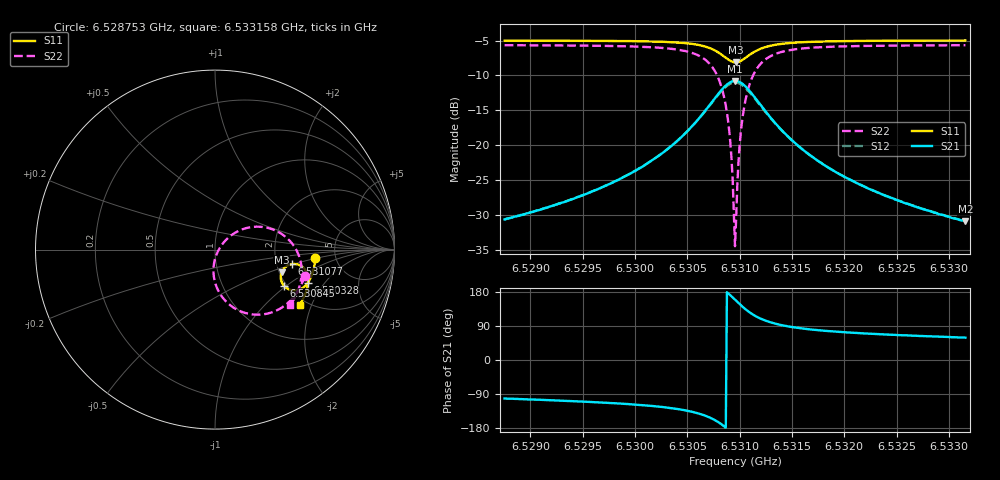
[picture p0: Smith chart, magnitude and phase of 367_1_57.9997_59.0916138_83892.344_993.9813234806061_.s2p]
#  HZ  S  RI  R  50.00
! Rohde & Schwarz Vector Network Analyzer
! Rohde-Schwarz,ZNB20-2Port,1311601062101988,3.16
! Created: UTC 3/21/2024, 1:06:45 AM
! freq[Hz]  re:S11  im:S11  re:S21  im:S21  re:S12  im:S12  re:S22  im:S22
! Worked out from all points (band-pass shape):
!   401 points, 6.528753 GHz to 6.533158 GHz, reference 50 ohm
!   highest |S21| = -10.78 dB at 6.530956 GHz (marker M1); lowest = -30.9 dB at 6.533158 GHz (marker M2)
!   |S21| within 3 dB of the highest: 6.530737 GHz to 6.531177 GHz (440.2 kHz wide, 0.00674 % of centre)
!   lowest |S11| = -8.1 dB at 6.530967 GHz (marker M3), VSWR 2.29, Z = 103 - j30.6 ohm
!   |S11| at or under -10 dB: nowhere
!   |S22| runs from -34.5 to -5.7 dB; largest |S21 - S12| = 0.011
!   S11 on the Smith chart (normalised r, x): 6.528753 GHz: 3.50, -0.45; 6.530328 GHz: 2.59, -1.39; 6.530845 GHz: 1.94, -0.97; 6.531077 GHz: 2.42, -0.48; 6.533158 GHz: 1.82, -1.65
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6.5287534e9  0.5598 -0.0442  -0.00589 -0.0287  -0.00639 -0.0286  0.4997 -0.1472
6.5294911e9  0.5506 -0.1047  -0.0147 -0.0408  -0.0155 -0.0407  0.4711 -0.2144
6.5302288e9  0.5238 -0.1759  -0.0461 -0.0704  -0.0479 -0.0693  0.3947 -0.3072
6.5303279e9  0.5161 -0.1874  -0.0568 -0.0775  -0.0589 -0.0758  0.3718 -0.3235
6.5306803e9  0.4533 -0.2268  -0.1528 -0.0957  -0.155 -0.0897  0.1891 -0.3579
6.5307794e9  0.4145 -0.2226  -0.213 -0.0726  -0.2128 -0.0639  0.0859 -0.3109
6.5308454e9  0.3855 -0.2028  -0.2563 -0.0283  -0.2522 -0.0193  0.0187 -0.2301
6.5308784e9  0.3738 -0.1857  -0.2722 0.00527  -0.2658 0.0138  -0.00274 -0.1711
6.5309005e9  0.3687 -0.172  -0.2779 0.0316  -0.2704 0.0392  -0.00853 -0.1263
6.5309445e9  0.3673 -0.1409  -0.2744 0.0887  -0.265 0.0933  0.00639 -0.0327
6.5309555e9  0.3692 -0.1331  -0.27 0.1029  -0.2603 0.1064  0.0158 -0.0103
6.5309665e9  0.3717 -0.1254  -0.2641 0.1164  -0.2543 0.119  0.0277 0.0109
6.5309775e9  0.3752 -0.1182  -0.257 0.1293  -0.2474 0.1311  0.0413 0.0311
6.5309996e9  0.3842 -0.1052  -0.2394 0.1524  -0.2302 0.1526  0.0739 0.0662
6.5310106e9  0.3896 -0.0998  -0.2292 0.1622  -0.2206 0.1618  0.0922 0.0809
6.5310436e9  0.4075 -0.0873  -0.1957 0.1844  -0.1885 0.1824  0.1509 0.1123
6.5310766e9  0.4268 -0.081  -0.1613 0.1962  -0.1555 0.1934  0.2101 0.1264
6.5311537e9  0.4655 -0.0844  -0.0932 0.1944  -0.0902 0.1918  0.3247 0.1114
6.5312638e9  0.4982 -0.1069  -0.036 0.1646  -0.0343 0.1632  0.4184 0.047
6.5316932e9  0.5197 -0.1828  0.0141 0.0814  0.0151 0.0811  0.4831 -0.1298
6.5324309e9  0.4997 -0.2554  0.0166 0.039  0.0173 0.0389  0.4556 -0.2455
6.5331576e9  0.4715 -0.3086  0.0147 0.0245  0.0151 0.0242  0.4201 -0.3074
